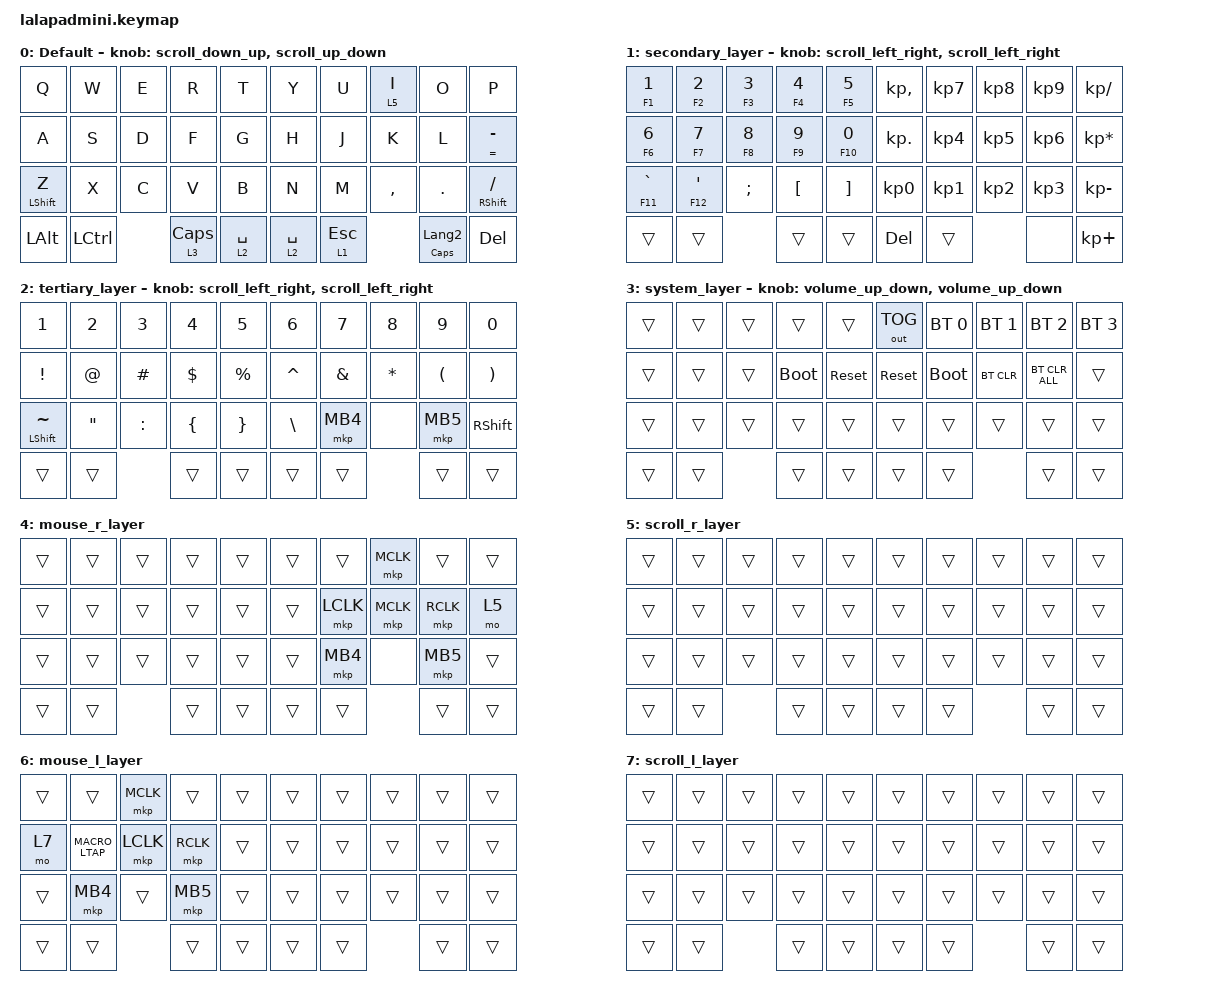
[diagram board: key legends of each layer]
#include <input/processors.dtsi>
#include <behaviors.dtsi>
#include <dt-bindings/zmk/bt.h>
#include <dt-bindings/zmk/keys.h>
#include <dt-bindings/zmk/outputs.h>
#include <dt-bindings/zmk/pointing.h>

#define DEFAULT_LAYER   0
#define SECONDARY_LAYER 1
#define TERTIARY_LAYER  2
#define SYSTEM_LAYER    3
#define MOUSE_R_LAYER   4
#define SCROLL_R_LAYER  5
#define MOUSE_L_LAYER   6
#define SCROLL_L_LAYER  7

// Mouse Scroll Value - Use different name to avoid redefinition
#define LALAPAD_SCRL_VAL 100

// cirque trackpad input&layer control

&glidepoint_listener_R {
    input-processors =
        <&zip_xy_transform (INPUT_TRANSFORM_XY_SWAP | INPUT_TRANSFORM_X_INVERT | INPUT_TRANSFORM_Y_INVERT)>,
        <&zip_xy_scaler 3 2>,
        <&zip_temp_layer MOUSE_R_LAYER 300>;

    lowspeedmode {
        layers = <SECONDARY_LAYER>;
        input-processors =
            <&zip_xy_transform (INPUT_TRANSFORM_XY_SWAP | INPUT_TRANSFORM_X_INVERT | INPUT_TRANSFORM_Y_INVERT)>,
            <&zip_xy_scaler 3 5>,
            <&zip_temp_layer MOUSE_R_LAYER 300>;
    };

    scroller {
        layers = <SCROLL_R_LAYER>;
        input-processors =
            <&zip_xy_to_scroll_mapper>,
            <&zip_scroll_transform (INPUT_TRANSFORM_XY_SWAP | INPUT_TRANSFORM_Y_INVERT)>,
            <&zip_scroll_scaler 1 32>;
    };
};

&glidepoint_listener_L {
    input-processors =
        <&zip_xy_transform (INPUT_TRANSFORM_XY_SWAP | INPUT_TRANSFORM_X_INVERT | INPUT_TRANSFORM_Y_INVERT)>,
        <&zip_xy_scaler 3 2>,
        <&zip_temp_layer MOUSE_L_LAYER 300>;

    lowspeedmode {
        layers = <TERTIARY_LAYER>;
        input-processors =
            <&zip_xy_transform (INPUT_TRANSFORM_XY_SWAP | INPUT_TRANSFORM_X_INVERT | INPUT_TRANSFORM_Y_INVERT)>,
            <&zip_xy_scaler 3 4>,
            <&zip_temp_layer MOUSE_L_LAYER 300>;
    };

    scroller {
        layers = <SCROLL_L_LAYER>;
        input-processors =
            <&zip_xy_to_scroll_mapper>,
            <&zip_scroll_transform (INPUT_TRANSFORM_XY_SWAP | INPUT_TRANSFORM_Y_INVERT)>,
            <&zip_scroll_scaler 1 32>;
    };
};

&mt { quick-tap-ms = <200>; };

&lt { quick-tap-ms = <200>; };

/ {
    behaviors {
        // Encoder to Mouse Scroll

        scroll_up_down: behavior_sensor_rotate_mouse_wheel_up_down {
            compatible = "zmk,behavior-sensor-rotate";
            #sensor-binding-cells = <0>;
            bindings = <&msc SCRL_UP>, <&msc SCRL_DOWN>;

            tap-ms = <20>;
        };

        scroll_down_up: behavior_sensor_rotate_mouse_wheel_down_up {
            compatible = "zmk,behavior-sensor-rotate";
            #sensor-binding-cells = <0>;
            bindings = <&msc SCRL_DOWN>, <&msc SCRL_UP>;

            tap-ms = <20>;
        };

        scroll_left_right: behavior_sensor_rotate_mouse_wheel_left_right {
            compatible = "zmk,behavior-sensor-rotate";
            #sensor-binding-cells = <0>;
            bindings = <&msc SCRL_LEFT>, <&msc SCRL_RIGHT>;

            tap-ms = <20>;
        };

        scroll_right_left: behavior_sensor_rotate_mouse_wheel_right_left {
            compatible = "zmk,behavior-sensor-rotate";
            #sensor-binding-cells = <0>;
            bindings = <&msc SCRL_RIGHT>, <&msc SCRL_LEFT>;

            tap-ms = <20>;
        };

        volume_up_down: behavior_sensor_rotate_volume_up_down {
            compatible = "zmk,behavior-sensor-rotate";
            #sensor-binding-cells = <0>;
            bindings = <&kp C_VOLUME_UP>, <&kp C_VOLUME_DOWN>;

            tap-ms = <20>;
        };

        mt2: mod_tap2 {
            compatible = "zmk,behavior-hold-tap";
            #binding-cells = <2>;
            flavor = "tap-preferred";
            tapping-term-ms = <200>;
            quick-tap-ms = <200>;
            require-prior-idle-ms = <125>;
            bindings = <&kp>, <&kp>;
        };

        tap_dance_layer_1and2: tap_dance_layer_1and2 {
            compatible = "zmk,behavior-tap-dance";
            label = "td_mo12";
            #binding-cells = <0>;
            bindings = <&mo 1>, <&mo 2>;
        };
    };

    combos {
        compatible = "zmk,combos";

        CONBO_ESC {
            bindings = <&kp ESCAPE>;
            key-positions = <0 1>;
        };

        COMBO_TAB {
            bindings = <&kp TAB>;
            key-positions = <10 11>;
        };

        COMBO_WIN {
            bindings = <&kp LWIN>;
            key-positions = <30 31>;
        };

        ent {
            bindings = <&kp ENTER>;
            key-positions = <19 18>;
        };

        eql {
            bindings = <&kp EQUAL>;
            key-positions = <8 7>;
        };

        shz {
            bindings = <&kp LS(Z)>;
            key-positions = <20 21>;
        };

        que {
            bindings = <&kp RS(QUESTION)>;
            key-positions = <29 28>;
        };

        bs {
            bindings = <&kp BACKSPACE>;
            key-positions = <9 8>;
        };
    };

    macros {
        MACRO_LTAP: MACRO_LTAP {
            compatible = "zmk,behavior-macro";
            #binding-cells = <0>;
            bindings = <&mkp LCLK>;
            label = "MACRO_LTAP";
        };
    };

    keymap {
        compatible = "zmk,keymap";

        DEFAULT_LAYER {
            display-name = "Default";
            sensor-bindings = <&scroll_down_up>, <&scroll_up_down>;

            bindings = <
&kp Q             &kp W      &kp E  &kp R           &kp T        &kp Y        &kp U         &lt 5 I    &kp O                    &kp P
&kp A             &kp S      &kp D  &kp F           &kp G        &kp H        &kp J         &kp K      &kp L                    &mt2 EQUAL MINUS
&mt LEFT_SHIFT Z  &kp X      &kp C  &kp V           &kp B        &kp N        &kp M         &kp COMMA  &kp PERIOD               &mt RSHIFT SLASH
&kp LEFT_ALT      &kp LCTRL         &lt 3 CAPSLOCK  &lt 2 SPACE  &lt 2 SPACE  &lt 1 ESCAPE             &mt CAPSLOCK LANGUAGE_2  &kp DEL
            >;
        };

        SECONDARY_LAYER {
            display-name = "secondary_layer";
            sensor-bindings = <&scroll_left_right>, <&scroll_left_right>;

            bindings = <
&mt2 F1 NUMBER_1  &mt2 F2 NUMBER_2  &mt2 F3 NUMBER_3  &mt2 F4 NUMBER_4  &mt2 F5 N5         &kp KP_COMMA     &kp KP_NUMBER_7  &kp KP_NUMBER_8  &kp KP_NUMBER_9  &kp KP_DIVIDE
&mt2 F6 NUMBER_6  &mt2 F7 N7        &mt2 F8 N8        &mt2 F9 N9        &mt2 F10 N0        &kp KP_DOT       &kp KP_NUMBER_4  &kp KP_NUMBER_5  &kp KP_NUMBER_6  &kp KP_ASTERISK
&mt2 F11 GRAVE    &mt2 F12 SQT      &kp SEMICOLON     &kp LEFT_BRACKET  &kp RIGHT_BRACKET  &kp KP_NUMBER_0  &kp KP_NUMBER_1  &kp KP_NUMBER_2  &kp KP_NUMBER_3  &kp KP_MINUS
&trans            &trans                              &trans            &trans             &kp DELETE       &trans                            &none            &kp KP_PLUS
            >;
        };

        TERTIARY_LAYER {
            display-name = "tertiary_layer";
            bindings = <
&kp NUMBER_1          &kp NUMBER_2       &kp NUMBER_3  &kp NUMBER_4    &kp NUMBER_5     &kp NUMBER_6   &kp NUMBER_7   &kp NUMBER_8  &kp NUMBER_9          &kp NUMBER_0
&kp EXCLAMATION       &kp AT_SIGN        &kp HASH      &kp DOLLAR      &kp PERCENT      &kp CARET      &kp AMPERSAND  &kp ASTERISK  &kp LEFT_PARENTHESIS  &kp RIGHT_PARENTHESIS
&mt LEFT_SHIFT TILDE  &kp DOUBLE_QUOTES  &kp COLON     &kp LEFT_BRACE  &kp RIGHT_BRACE  &kp BACKSLASH  &mkp MB4       &none         &mkp MB5              &kp RIGHT_SHIFT
&trans                &trans                           &trans          &trans           &trans         &trans                       &trans                &trans
            >;

            sensor-bindings = <&scroll_left_right>, <&scroll_left_right>;
        };

        SYSTEM_LAYER {
            display-name = "system_layer";
            sensor-bindings = <&volume_up_down>, <&volume_up_down>;

            bindings = <
&trans  &trans  &trans  &trans       &trans      &out OUT_TOG  &bt BT_SEL 0  &bt BT_SEL 1  &bt BT_SEL 2    &bt BT_SEL 3
&trans  &trans  &trans  &bootloader  &sys_reset  &sys_reset    &bootloader   &bt BT_CLR    &bt BT_CLR_ALL  &trans
&trans  &trans  &trans  &trans       &trans      &trans        &trans        &trans        &trans          &trans
&trans  &trans          &trans       &trans      &trans        &trans                      &trans          &trans
            >;
        };

        MOUSE_R_LAYER {
            display-name = "mouse_r_layer";
            bindings = <
&trans  &trans  &trans  &trans  &trans  &trans  &trans       &mkp MCLK  &trans     &trans
&trans  &trans  &trans  &trans  &trans  &trans  &mkp LCLK    &mkp MCLK  &mkp RCLK  &mo 5
&trans  &trans  &trans  &trans  &trans  &trans  &mkp MB4     &none      &mkp MB5   &trans
&trans  &trans          &trans  &trans  &trans  &trans                  &trans     &trans
            >;
        };

        SCROLL_R_LAYER {
            display-name = "scroll_r_layer";
            bindings = <
&trans  &trans  &trans  &trans  &trans  &trans  &trans  &trans  &trans  &trans
&trans  &trans  &trans  &trans  &trans  &trans  &trans  &trans  &trans  &trans
&trans  &trans  &trans  &trans  &trans  &trans  &trans  &trans  &trans  &trans
&trans  &trans          &trans  &trans  &trans  &trans          &trans  &trans
            >;
        };

        MOUSE_L_LAYER {
            display-name = "mouse_l_layer";
            bindings = <
&trans  &trans       &mkp MCLK  &trans     &trans  &trans  &trans  &trans  &trans  &trans
&mo 7   &MACRO_LTAP  &mkp LCLK  &mkp RCLK  &trans  &trans  &trans  &trans  &trans  &trans
&trans  &mkp MB4     &trans     &mkp MB5   &trans  &trans  &trans  &trans  &trans  &trans
&trans  &trans                  &trans     &trans  &trans  &trans          &trans  &trans
            >;
        };

        SCROLL_L_LAYER {
            display-name = "scroll_l_layer";
            bindings = <
&trans  &trans  &trans  &trans  &trans  &trans  &trans  &trans  &trans  &trans
&trans  &trans  &trans  &trans  &trans  &trans  &trans  &trans  &trans  &trans
&trans  &trans  &trans  &trans  &trans  &trans  &trans  &trans  &trans  &trans
&trans  &trans          &trans  &trans  &trans  &trans          &trans  &trans
            >;
        };
    };

    conditional_layers {
        compatible = "zmk,conditional-layers";

        System_layer {
            if-layers = <1 2>;
            then-layer = <3>;
        };
    };
};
